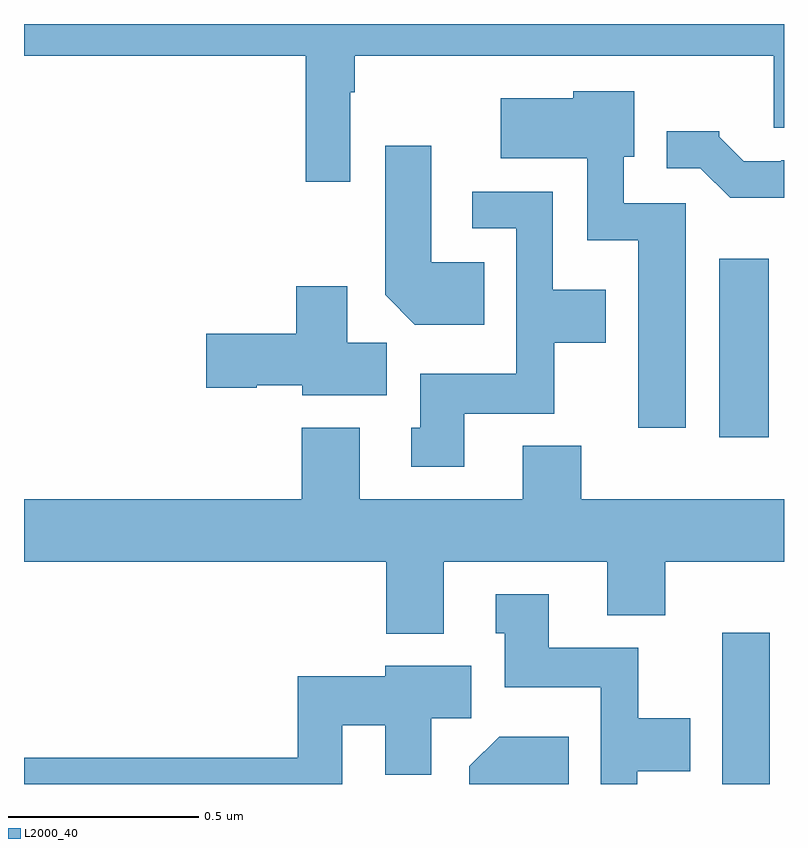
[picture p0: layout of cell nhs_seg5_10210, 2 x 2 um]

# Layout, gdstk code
import gdstk
lib = gdstk.Library(unit=1e-6, precision=1e-09)
def R(c, l, rs):  # rectangles x0, y0, x1, y1
    for r in rs: c.add(gdstk.rectangle(r[:2], r[2:], *l))
def P(c, l, *ps):  # polygons
    for p in ps: c.add(gdstk.Polygon(p, *l))
L2000_40 = (2000, 40)

nhs_seg5_10210 = lib.new_cell('nhs_seg5_10210')
R(nhs_seg5_10210, L2000_40, [(244.838,898.799,244.963,899.197), (244.829,899.712,244.96,900.181)])
P(nhs_seg5_10210, L2000_40, [(243.858,900.62),(243.871,900.62),(243.871,900.716),(244.973,900.716),(244.973,900.526),(245,900.526),(245,900.799),(243,900.799),(243,900.716),(243.742,900.716),(243.742,900.384),(243.858,900.384)],
  [(244.741,900.327),(244.578,900.327),(244.578,900.45),(244.606,900.45),(244.606,900.622),(244.446,900.622),(244.446,900.604),(244.254,900.604),(244.254,900.446),(244.482,900.446),(244.482,900.23),(244.616,900.23),(244.616,899.736),(244.741,899.736)],
  [(245,900.441),(244.993,900.441),(244.993,900.438),(244.894,900.438),(244.83,900.502),(244.83,900.517),(244.691,900.517),(244.691,900.42),(244.779,900.42),(244.858,900.342),(245,900.342)],
  [(244.211,900.172),(244.072,900.172),(244.072,900.478),(243.95,900.478),(243.95,900.086),(244.028,900.008),(244.211,900.008)],
  [(244.159,899.774),(244.395,899.774),(244.395,899.96),(244.531,899.96),(244.531,900.1),(244.392,900.1),(244.392,900.357),(244.179,900.357),(244.179,900.261),(244.296,900.261),(244.296,899.878),(244.043,899.878),(244.043,899.736),(244.019,899.736),(244.019,899.634),(244.159,899.634)],
  [(243.955,899.96),(243.85,899.96),(243.85,900.109),(243.716,900.109),(243.716,899.984),(243.48,899.984),(243.48,899.842),(243.612,899.842),(243.612,899.849),(243.732,899.849),(243.732,899.822),(243.955,899.822)],
  [(244.466,899.689),(244.313,899.689),(244.313,899.548),(243.883,899.548),(243.883,899.737),(243.731,899.737),(243.731,899.548),(243,899.548),(243,899.384),(243.953,899.384),(243.953,899.195),(244.105,899.195),(244.105,899.384),(244.535,899.384),(244.535,899.243),(244.688,899.243),(244.688,899.384),(245,899.384),(245,899.548),(244.466,899.548)],
  [(244.614,898.832),(244.753,898.832),(244.753,898.972),(244.617,898.972),(244.617,899.158),(244.381,899.158),(244.381,899.299),(244.241,899.299),(244.241,899.196),(244.265,899.196),(244.265,899.054),(244.518,899.054),(244.518,898.799),(244.614,898.799)],
  [(243.837,898.954),(243.95,898.954),(243.95,898.824),(244.072,898.824),(244.072,898.972),(244.177,898.972),(244.177,899.11),(243.95,899.11),(243.95,899.083),(243.721,899.083),(243.721,898.868),(243,898.868),(243,898.799),(243.837,898.799)],
  [(244.433,898.924),(244.25,898.924),(244.172,898.846),(244.172,898.799),(244.433,898.799)])

lib.write_gds('nhs_seg5_10210.gds')
